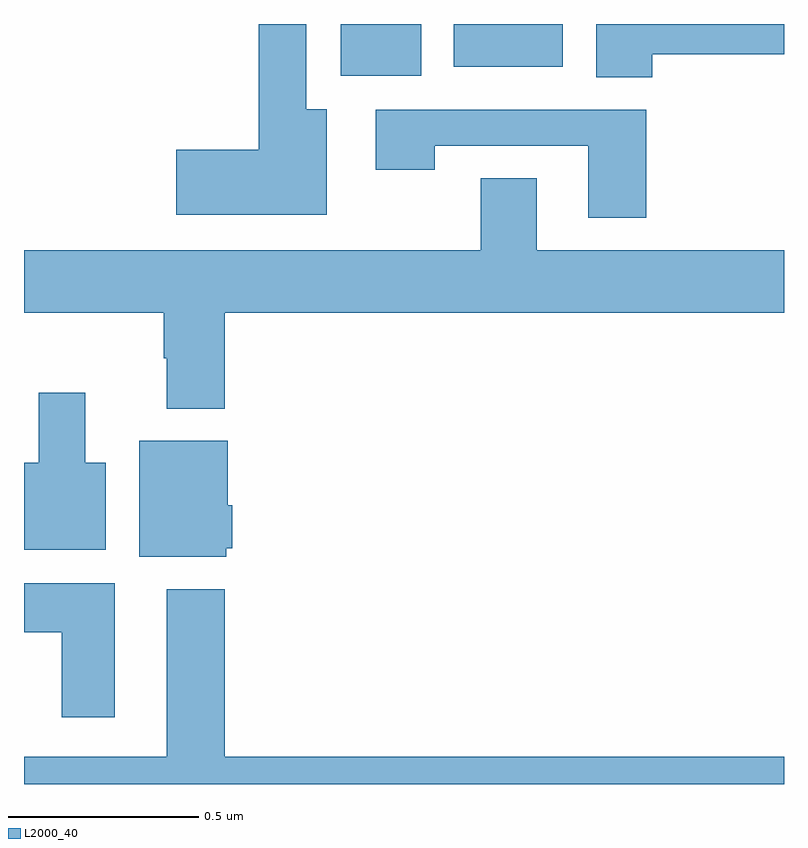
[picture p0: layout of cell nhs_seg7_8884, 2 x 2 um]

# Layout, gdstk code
import gdstk
lib = gdstk.Library(unit=1e-6, precision=1e-09)
def R(c, l, rs):  # rectangles x0, y0, x1, y1
    for r in rs: c.add(gdstk.rectangle(r[:2], r[2:], *l))
def P(c, l, *ps):  # polygons
    for p in ps: c.add(gdstk.Polygon(p, *l))
L2000_40 = (2000, 40)

nhs_seg7_8884 = lib.new_cell('nhs_seg7_8884')
R(nhs_seg7_8884, L2000_40, [(230.834,1043.864,231.046,1044), (231.131,1043.888,231.418,1044)])
P(nhs_seg7_8884, L2000_40, [(230.797,1043.776),(230.743,1043.776),(230.743,1044),(230.618,1044),(230.618,1043.669),(230.4,1043.669),(230.4,1043.498),(230.797,1043.498)],
  [(231.653,1043.92),(232,1043.92),(232,1044),(231.506,1044),(231.506,1043.86),(231.653,1043.86)],
  [(231.638,1043.775),(230.925,1043.775),(230.925,1043.616),(231.081,1043.616),(231.081,1043.679),(231.485,1043.679),(231.485,1043.49),(231.638,1043.49)],
  [(230.528,1043.24),(232,1043.24),(232,1043.404),(231.349,1043.404),(231.349,1043.594),(231.202,1043.594),(231.202,1043.404),(230,1043.404),(230,1043.24),(230.368,1043.24),(230.368,1043.12),(230.375,1043.12),(230.375,1042.988),(230.528,1042.988)],
  [(230.215,1042.846),(230.161,1042.846),(230.161,1043.029),(230.039,1043.029),(230.039,1042.846),(230,1042.846),(230,1042.616),(230.215,1042.616)],
  [(230.532,1042.62),(230.548,1042.62),(230.548,1042.734),(230.536,1042.734),(230.536,1042.903),(230.303,1042.903),(230.303,1042.598),(230.532,1042.598)],
  [(230.239,1042.528),(230,1042.528),(230,1042.4),(230.099,1042.4),(230.099,1042.176),(230.239,1042.176)],
  [(232,1042.072),(230.528,1042.072),(230.528,1042.513),(230.375,1042.513),(230.375,1042.072),(230,1042.072),(230,1042),(232,1042)])

lib.write_gds('nhs_seg7_8884.gds')
